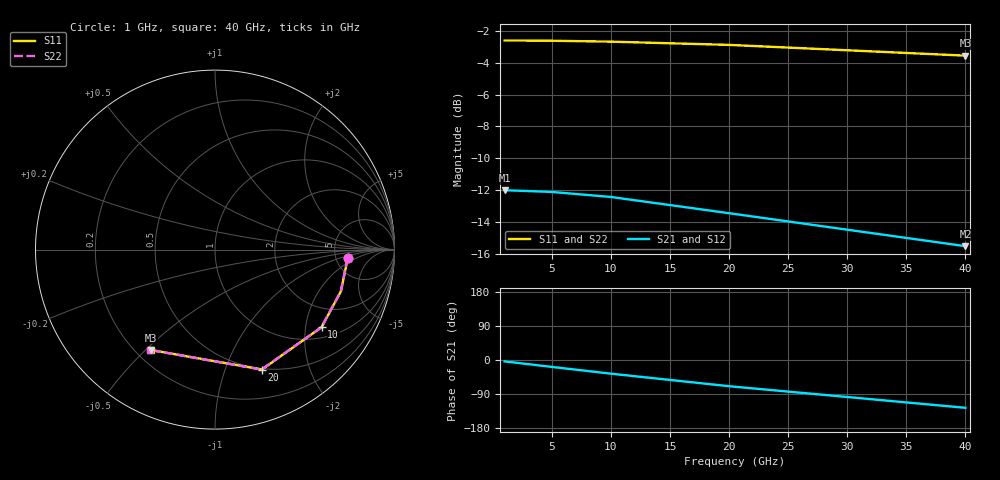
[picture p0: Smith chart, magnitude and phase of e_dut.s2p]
! Generated by circuitRF - EM: EMerge
! circuitRF-EM setup: g_zigzag_sheets
! circuitRF-EM layout: zigzag/layout/zigzag.clay
! circuitRF-EM written: 2026-11-05 00:53:33Z
! circuitRF-EM geometry: 71ee1cee2e521d9d
! circuitRF-EM mesh: ae32805cddc33b92
! circuitRF-EM ports: 09112e32f2d348d5
! circuitRF-EM model: EMerge 3.0.0b2
! Port[1] = port/1
! Port[2] = port/2
! circuitRF-EM port 1: 'port/1' from 'airbox/zmin' to 'Metal1/1', lumped, 50 Ohm
! circuitRF-EM port 2: 'port/2' from 'airbox/zmin' to 'Metal1/2', lumped, 50 Ohm
! circuitRF-EM 3D mesh: 3838 tetrahedra, element order 2
! circuitRF-EM 3D operating temperature: 20 C
! circuitRF-EM 3D run: preset Standard; 3838 tetrahedra; 26446 unknowns; 5 frequency sample(s)
! circuitRF-EM 3D run cost: wall 5 s; EMerge peak memory 1.4 GB
! circuitRF-EM 3D DC row: circuitRF conduction solve of the conductors, 14,633 elements, 0.27 s; ports as terminal pairs
! circuitRF-EM: re-running the EM setup rewrites this file. If circuitRF reports it as stale, the layout's cross-section changed after this file was written.
# GHz S RI R 50
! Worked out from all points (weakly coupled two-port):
!   5 points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, 1 GHz to 40 GHz, reference 50 ohm
!   highest |S21| = -12.01 dB at 1 GHz (marker M1); lowest = -15.5 dB at 40 GHz (marker M2)
!   lowest |S11| = -3.6 dB at 40 GHz (marker M3), VSWR 4.95, Z = 13 - j26 ohm
!   |S11| at or under -10 dB: nowhere
!   |S22| runs from -3.5 to -2.6 dB; largest |S21 - S12| = 0.00011
!   S11 on the Smith chart (normalised r, x): 1 GHz: 6.43, -1.35; 10 GHz: 1.31, -2.46; 20 GHz: 0.49, -1.35; 40 GHz: 0.26, -0.52
1  0.7394 -0.0475  0.2505 -0.016  0.2506 -0.016  0.7386 -0.0477
5  0.7021 -0.2318  0.2354 -0.0776  0.2355 -0.0777  0.7009 -0.2327
10  0.5941 -0.4319  0.1932 -0.1407  0.1933 -0.1407  0.5921 -0.4332
20  0.2619 -0.668  0.0756 -0.1986  0.0756 -0.1987  0.2587 -0.6685
40  -0.3574 -0.5594  -0.0988 -0.1352  -0.0988 -0.1353  -0.3598 -0.5592
